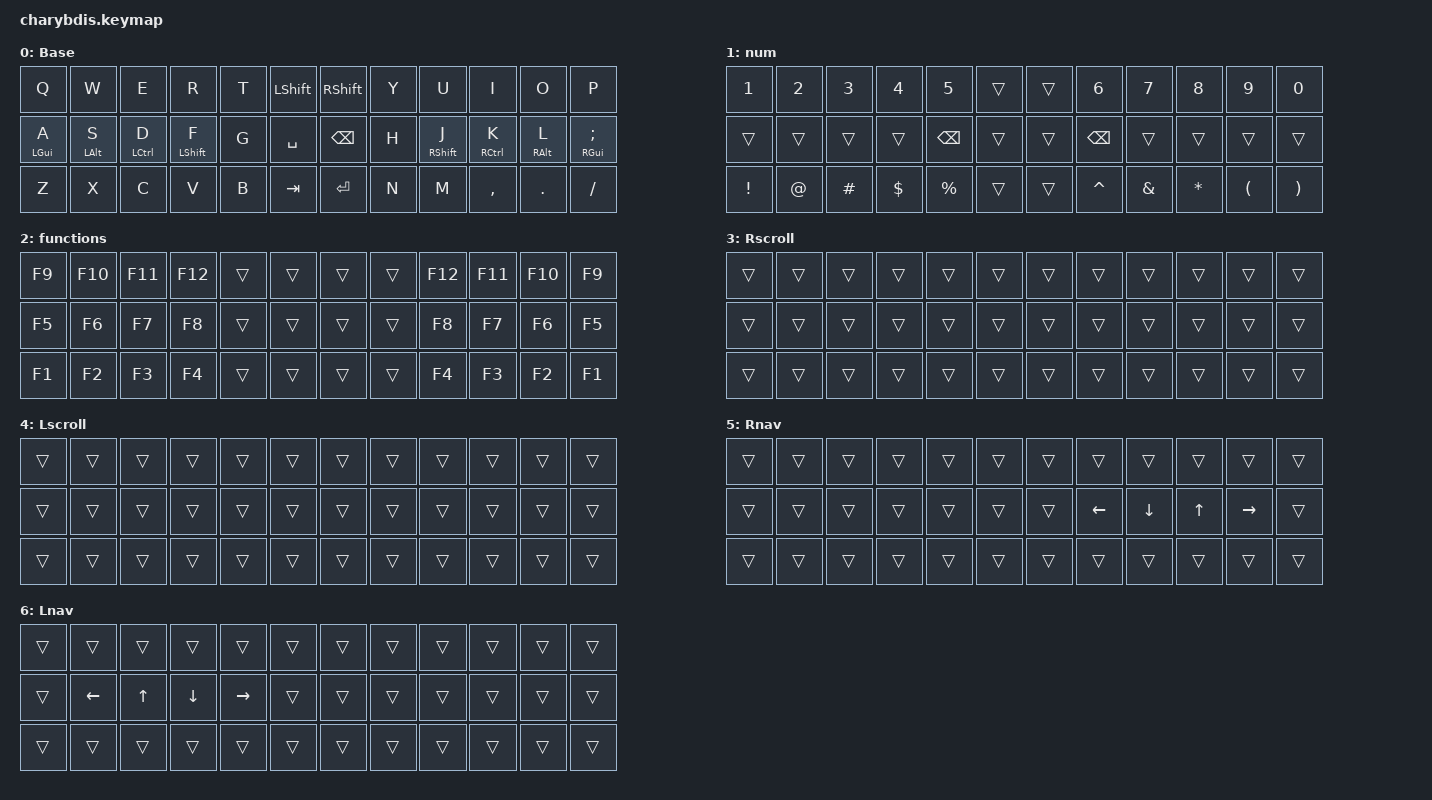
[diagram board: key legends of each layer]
//#include "keys_nb_osx.h"
//#include "keys_nb_win.h"

#include <behaviors.dtsi>
#include <dt-bindings/zmk/keys.h>
#include <dt-bindings/zmk/pointing.h>

/ {
    chosen { zmk,matrix_transform = &five_column_transform; };
};

/ {
    combos {
        compatible = "zmk,combos";

        C_esc {
            bindings = <&kp ESCAPE>;
            key-positions = <13 12>;
        };

        C_apos {
            bindings = <&kp APOSTROPHE>;
            key-positions = <22 23>;
        };

        C_backslash {
            bindings = <&kp BACKSLASH>;
            key-positions = <34 35>;
        };

        C_minus {
            bindings = <&kp MINUS>;
            key-positions = <10 11>;
        };

        C_equal {
            bindings = <&kp EQUAL>;
            key-positions = <1 0>;
        };

        C_grave {
            bindings = <&kp GRAVE>;
            key-positions = <25 24>;
        };

        C_lbkt {
            bindings = <&kp LEFT_BRACKET>;
            key-positions = <3 2 1>;
        };

        C_rbkt {
            bindings = <&kp RIGHT_BRACKET>;
            key-positions = <10 9 8>;
        };

        C_Lpgup {
            bindings = <&kp PAGE_UP>;
            key-positions = <2 1>;
        };

        C_Rpgup {
            bindings = <&kp PAGE_UP>;
            key-positions = <9 10>;
        };

        C_Lpgdn {
            bindings = <&kp PAGE_DOWN>;
            key-positions = <26 25>;
        };

        C_Rpgdn {
            bindings = <&kp PAGE_DOWN>;
            key-positions = <33 34>;
        };

        C_Lhome {
            bindings = <&kp HOME>;
            key-positions = <3 2>;
        };

        C_Rhome {
            bindings = <&kp HOME>;
            key-positions = <8 9>;
        };

        C_Lend {
            bindings = <&kp END>;
            key-positions = <27 26>;
        };

        C_Rend {
            bindings = <&kp END>;
            key-positions = <32 33>;
        };

        C_Llc {
            bindings = <&mkp MB1>;
            key-positions = <14 15>;
        };

        C_Rlc {
            bindings = <&mkp MB1>;
            key-positions = <20 21>;
        };

        C_Lrc {
            bindings = <&mkp MB2>;
            key-positions = <14 13>;
        };

        C_Rrc {
            bindings = <&mkp RCLK>;
            key-positions = <21 22>;
        };

        C_num {
            bindings = <&mo 1>;
            key-positions = <17 18>;
        };

        C_Lfn {
            bindings = <&mo 2>;
            key-positions = <29 17>;
        };

        C_Rfn {
            bindings = <&mo 2>;
            key-positions = <30 18>;
        };

        C_del {
            bindings = <&kp DELETE>;
            key-positions = <6 30>;
        };

        C_insert {
            bindings = <&kp INSERT>;
            key-positions = <5 29>;
        };

        C_Rscroll {
            bindings = <&tog 3>;
            key-positions = <22 20 21>;
        };

        C_Lscroll {
            bindings = <&tog 4>;
            key-positions = <13 15 14>;
        };

        C_Rm3 {
            bindings = <&mkp MB3>;
            key-positions = <20 22>;
        };

        C_Lm3 {
            bindings = <&mkp MB3>;
            key-positions = <15 13>;
        };

        C_Llang {
            bindings = <&kp LANGUAGE_1>;
            key-positions = <27 25>;
        };

        C_Lnav {
            bindings = <&mo 6>;
            key-positions = <17 5>;
        };

        C_Rnav {
            bindings = <&mo 5>;
            key-positions = <18 6>;
        };

        C_Rlang {
            bindings = <&kp LANG1>;
            key-positions = <32 34>;
        };

        C_tempLang {
            bindings = <&moLang>;
            key-positions = <29 30>;
        };
    };

    behaviors {
        HML: HML {
            compatible = "zmk,behavior-hold-tap";
            label = "HML";
            bindings = <&kp>, <&kp>;

            #binding-cells = <2>;
            require-prior-idle-ms = <150>;
            quick-tap-ms = <175>;
            tapping-term-ms = <280>;
            flavor = "balanced";
            hold-trigger-on-release;
            hold-trigger-key-positions = <17 29 5 6 18 30 35 23 11 20 21 22 23 32 33 34 7 8 9 10 19 20 21 22 31 32 33 34>;
        };

        HMR: HMR {
            compatible = "zmk,behavior-hold-tap";
            label = "HMR";
            bindings = <&kp>, <&kp>;

            #binding-cells = <2>;
            tapping-term-ms = <280>;
            quick-tap-ms = <175>;
            require-prior-idle-ms = <150>;
            flavor = "balanced";
            hold-trigger-on-release;
            hold-trigger-key-positions = <0 1 2 3 4 5 12 13 14 15 16 17 24 25 26 27 28 29 6 18 30>;
        };
    };

    macros {
        moLang: moLang {
            compatible = "zmk,behavior-macro";
            #binding-cells = <0>;
            bindings =
                <&macro_tap>,
                <&kp LANG1>,
                <&macro_pause_for_release>,
                <&macro_tap>,
                <&kp LANG1>;

            label = "MOLANG";
        };
    };

    keymap {
        compatible = "zmk,keymap";

        Base {
            bindings = <
&kp Q            &kp W            &kp E         &kp R          &kp T  &kp LEFT_SHIFT    &kp RIGHT_SHIFT  &kp Y  &kp U               &kp I         &kp O             &kp P
&HML LEFT_GUI A  &HML LEFT_ALT S  &HML LCTRL D  &HML LSHIFT F  &kp G  &kp SPACE         &kp BACKSPACE    &kp H  &HMR RIGHT_SHIFT J  &HMR RCTRL K  &HMR RIGHT_ALT L  &HMR RIGHT_GUI SEMI
&kp Z            &kp X            &kp C         &kp V          &kp B  &kp TAB           &kp ENTER        &kp N  &kp M               &kp COMMA     &kp DOT           &kp SLASH
            >;
        };

        num {
            bindings = <
&kp NUMBER_1     &kp NUMBER_2  &kp NUMBER_3  &kp NUMBER_4  &kp NUMBER_5   &trans    &trans  &kp NUMBER_6   &kp NUMBER_7   &kp NUMBER_8  &kp NUMBER_9          &kp NUMBER_0
&trans           &trans        &trans        &trans        &kp BACKSPACE  &trans    &trans  &kp BACKSPACE  &trans         &trans        &trans                &trans
&kp EXCLAMATION  &kp AT_SIGN   &kp HASH      &kp DOLLAR    &kp PERCENT    &trans    &trans  &kp CARET      &kp AMPERSAND  &kp ASTERISK  &kp LEFT_PARENTHESIS  &kp RIGHT_PARENTHESIS
            >;
        };

        functions {
            bindings = <
&kp F9  &kp F10  &kp F11  &kp F12  &trans  &trans    &trans  &trans  &kp F12  &kp F11  &kp F10  &kp F9
&kp F5  &kp F6   &kp F7   &kp F8   &trans  &trans    &trans  &trans  &kp F8   &kp F7   &kp F6   &kp F5
&kp F1  &kp F2   &kp F3   &kp F4   &trans  &trans    &trans  &trans  &kp F4   &kp F3   &kp F2   &kp F1
            >;
        };

        Rscroll {
            bindings = <
&trans  &trans  &trans  &trans  &trans  &trans    &trans  &trans  &trans  &trans  &trans  &trans
&trans  &trans  &trans  &trans  &trans  &trans    &trans  &trans  &trans  &trans  &trans  &trans
&trans  &trans  &trans  &trans  &trans  &trans    &trans  &trans  &trans  &trans  &trans  &trans
            >;
        };

        Lscroll {
            bindings = <
&trans  &trans  &trans  &trans  &trans  &trans    &trans  &trans  &trans  &trans  &trans  &trans
&trans  &trans  &trans  &trans  &trans  &trans    &trans  &trans  &trans  &trans  &trans  &trans
&trans  &trans  &trans  &trans  &trans  &trans    &trans  &trans  &trans  &trans  &trans  &trans
            >;
        };

        Rnav {
            bindings = <
&trans  &trans  &trans  &trans  &trans  &trans    &trans  &trans          &trans          &trans        &trans           &trans
&trans  &trans  &trans  &trans  &trans  &trans    &trans  &kp LEFT_ARROW  &kp DOWN_ARROW  &kp UP_ARROW  &kp RIGHT_ARROW  &trans
&trans  &trans  &trans  &trans  &trans  &trans    &trans  &trans          &trans          &trans        &trans           &trans
            >;
        };

        Lnav {
            bindings = <
&trans  &trans          &trans        &trans          &trans           &trans    &trans  &trans  &trans  &trans  &trans  &trans
&trans  &kp LEFT_ARROW  &kp UP_ARROW  &kp DOWN_ARROW  &kp RIGHT_ARROW  &trans    &trans  &trans  &trans  &trans  &trans  &trans
&trans  &trans          &trans        &trans          &trans           &trans    &trans  &trans  &trans  &trans  &trans  &trans
            >;
        };
    };
};
